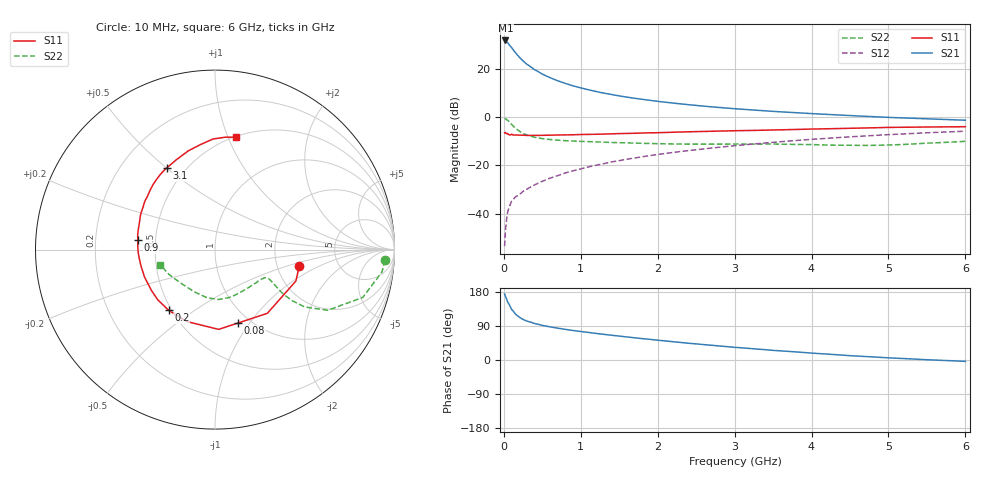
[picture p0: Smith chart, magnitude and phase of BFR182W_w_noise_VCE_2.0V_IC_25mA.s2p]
! Infineon Technologies  Discrete & RF Semiconductors
! BFR182W
! VCE =  2.0 V,  IC =  25 mA
! Common Emitter S-Parameters:  Jan 2017
# GHz  S  MA  R  50
!  f  S11  S21  S12  S22
! GHz  MAG  ANG  MAG  ANG  MAG  ANG  MAG  ANG
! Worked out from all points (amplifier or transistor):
!   77 points, 10 MHz to 6 GHz, reference 50 ohm
!   highest |S21| = 31.9 dB at 20 MHz (marker M1)
!   |S21| within 3 dB of that: start of sweep to 101.5 MHz
!   unconditionally stable (mu >= 1): 499.9 MHz to 2.429 GHz
!   at 130 MHz: K = 0.52, MSG = 30.8 dB, |S12| = -33.8 dB
!   at 2.2 GHz: K = 1.02, MAG = 9.4 dB, |S12| = -14.6 dB
!   at 6 GHz: K = 0.89, MSG = 2.3 dB, |S12| = -5.8 dB
!   lowest NFmin = 1.56 dB at 450 MHz
!   S11 on the Smith chart (normalised r, x): 10 MHz: 2.67, -0.63; 80 MHz: 0.88, -0.88; 200 MHz: 0.48, -0.40; 900 MHz: 0.40, +0.05; 3.1 GHz: 0.40, +0.50; 6 GHz: 0.51, +1.07
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0.01  0.4784 -10.9  39.49 174.1  0.0021 87.2  0.9497 -3.6
0.02  0.4836 -21.2  39.49 168.6  0.0042 86.4  0.9383 -7.7
0.05  0.4595 -50.6  35.61 152.9  0.0108 75.6  0.8659 -17.9
0.08  0.4286 -72.5  30.7 142.4  0.015 68.0  0.7711 -23.6
0.1  0.445 -87.4  28.16 133.6  0.0179 65.0  0.7132 -28.3
0.15  0.4305 -111.5  22.1 121.3  0.0221 59.5  0.5933 -32.6
0.2  0.4258 -127.4  17.84 113.1  0.0246 61.1  0.5154 -33.5
0.25  0.424 -138.9  14.85 107.0  0.0289 61.6  0.4631 -33.2
0.3  0.421 -147.1  12.64 102.7  0.0321 62.2  0.4267 -32.3
0.4  0.4214 -158.7  9.762 96.2  0.0394 65.1  0.3846 -30.5
0.5  0.4221 -166.8  7.903 91.4  0.0468 67.1  0.3605 -29.3
0.6  0.4249 -173.3  6.659 87.4  0.0544 68.1  0.345 -28.6
0.7  0.4287 -178.4  5.741 84.0  0.0612 70.5  0.3346 -28.4
0.9  0.4334 173.0  4.501 77.9  0.0772 71.1  0.3212 -29.2
1.1  0.4414 165.9  3.729 72.7  0.0931 71.7  0.3124 -31.1
1.3  0.4481 159.7  3.179 67.7  0.1089 71.1  0.3041 -33.6
1.5  0.4586 154.5  2.782 63.1  0.1258 70.6  0.2968 -36.9
2.1  0.4834 140.0  2.057 50.3  0.1773 67.5  0.2809 -50.1
3.1  0.5288 120.4  1.47 32.0  0.2654 59.7  0.2773 -76.5
4.1  0.5735 103.6  1.171 16.9  0.3567 50.1  0.268 -102.6
5.1  0.6183 89.7  0.982 4.8  0.4435 39.4  0.2689 -138.1
6  0.6378 79.3  0.869 -3.6  0.5138 29.4  0.3168 -164.5
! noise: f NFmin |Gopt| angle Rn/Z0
0.45  1.56  0.16  -169  0.15
0.9  1.65  0.17  -163  0.16
1.9  2.18  0.33  -138  0.18
2.4  2.46  0.34  -127  0.29
